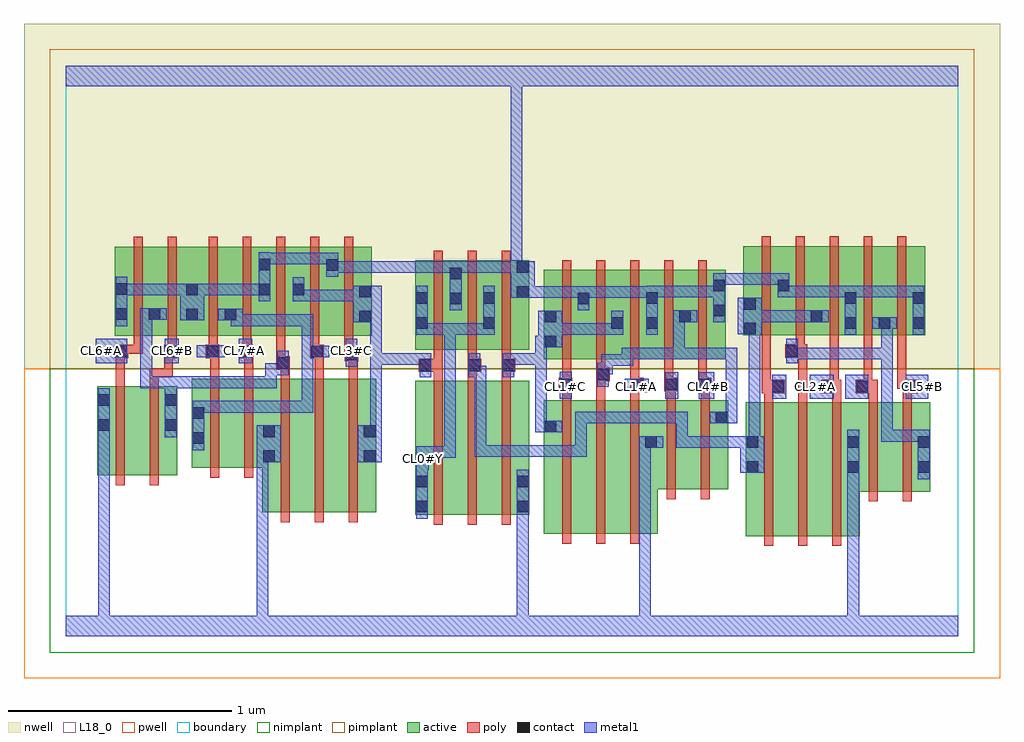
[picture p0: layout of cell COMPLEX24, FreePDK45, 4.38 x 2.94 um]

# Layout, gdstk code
import gdstk
lib = gdstk.Library(unit=1e-6, precision=1e-09)
def R(c, l, rs):  # rectangles x0, y0, x1, y1
    for r in rs: c.add(gdstk.rectangle(r[:2], r[2:], *l))
def A(c, l, x, y, w, h, nx, ny, dx, dy):  # array of equal rectangles
    R(c, l, [(x+i*dx, y+j*dy, x+i*dx+w, y+j*dy+h) for i in range(nx) for j in range(ny)])
active = (1, 0)
pwell = (2, 0)
nwell = (3, 0)
nimplant = (4, 0)
pimplant = (5, 0)
poly = (9, 0)
contact = (10, 0)
metal1 = (11, 0)
L18_0 = (18, 0)
boundary = (235, 0)

complex24 = lib.new_cell('COMPLEX24')
A(complex24, active, 0.708, 1.348, 0.212, 0.4, 3, 1, 0.152, 0)
A(complex24, active, 3.336, 1.35, 0.212, 0.4, 3, 1, 0.152, 0)
A(complex24, active, 3.488, 1.35, 0.06, 0.294, 3, 1, 0.152, 0)
R(complex24, active, [(3.048,0.45,3.228,1.05), (3.228,0.45,3.38,1.05), (3.38,0.45,3.56,1.05), (3.5,0.45,3.56,0.902), (2.142,0.46,2.322,1.06), (2.322,0.46,2.474,1.06), (2.474,0.46,2.654,1.06), (1.566,0.546,1.746,1.146), (1.746,0.546,1.898,1.146), (1.898,0.546,2.078,1.146), (2.018,0.546,2.078,0.724), (1.566,0.552,1.626,1.146), (0.88,0.556,1.06,1.156), (1.06,0.556,1.212,1.156), (1.212,0.556,1.392,1.156), (1.332,0.556,1.392,1.156), (2.142,0.556,2.202,1.06), (3.048,0.556,3.108,1.05), (3.5,0.65,3.696,1.05), (3.696,0.65,3.876,1.05), (3.816,0.65,3.876,1.05), (2.594,0.66,2.79,1.06), (2.79,0.66,2.97,1.06), (0.14,0.722,0.2,1.122), (0.14,0.722,0.32,1.122), (0.32,0.722,0.5,1.122), (0.44,0.722,0.5,1.122), (0.564,0.756,0.624,1.156), (0.564,0.756,0.744,1.156), (0.744,0.756,0.94,1.156), (0.88,0.756,0.94,0.98), (2.594,0.756,2.654,0.902), (2.91,0.756,2.97,1.06), (2.142,1.244,2.202,1.644), (2.142,1.244,2.35,1.644), (2.29,1.244,2.35,1.644), (2.29,1.244,2.502,1.644), (2.442,1.244,2.502,1.644), (2.442,1.244,2.658,1.644), (2.598,1.244,2.658,1.644), (2.598,1.244,2.806,1.644), (2.746,1.244,2.806,1.644), (2.746,1.244,2.958,1.644), (2.898,1.244,2.958,1.644), (1.566,1.286,1.778,1.686), (1.566,1.286,1.626,1.644), (1.718,1.286,1.778,1.686), (1.718,1.286,1.926,1.686), (1.866,1.286,2.078,1.686), (2.018,1.286,2.078,1.686), (0.22,1.348,0.428,1.748), (0.22,1.348,0.28,1.644), (0.368,1.348,0.596,1.748), (0.536,1.348,0.768,1.748), (0.86,1.348,0.92,1.748), (1.164,1.348,1.372,1.748), (1.312,1.348,1.372,1.644), (3.036,1.35,3.096,1.75), (3.036,1.35,3.248,1.75), (3.188,1.35,3.248,1.75), (3.188,1.35,3.396,1.75), (3.336,1.35,3.396,1.75), (1.866,1.376,1.926,1.644), (0.536,1.414,0.596,1.644), (0.708,1.414,0.768,1.644), (0.368,1.416,0.428,1.644), (1.164,1.472,1.224,1.748), (1.012,1.526,1.072,1.644)])
R(complex24, pwell, [(-0.188,-0.188,4.188,1.2)])
R(complex24, nwell, [(-0.188,1.2,4.188,2.748)])
R(complex24, nimplant, [(-0.072,-0.072,4.072,1.2)])
R(complex24, pimplant, [(-0.072,1.2,4.072,2.632)])
A(complex24, poly, 3.132, 0.406, 0.04, 0.688, 3, 1, 0.152, 0)
A(complex24, poly, 2.226, 0.416, 0.04, 0.688, 3, 1, 0.152, 0)
A(complex24, poly, 1.65, 0.502, 0.04, 0.688, 3, 1, 0.152, 0)
A(complex24, poly, 0.964, 0.512, 0.04, 0.688, 3, 1, 0.152, 0)
A(complex24, poly, 2.53, 1.1, 0.06, 0.06, 3, 1, 0.152, 0)
A(complex24, poly, 3.424, 1.11, 0.04, 0.236, 3, 1, 0.152, 0)
A(complex24, poly, 2.53, 1.12, 0.04, 0.12, 3, 1, 0.152, 0)
A(complex24, poly, 1.65, 1.15, 0.04, 0.076, 3, 2, 0.152, 0.056)
A(complex24, poly, 2.226, 1.2, 0.04, 0.488, 5, 1, 0.152, 0)
A(complex24, poly, 1.65, 1.242, 0.04, 0.488, 3, 1, 0.152, 0)
A(complex24, poly, 0.64, 1.304, 0.04, 0.488, 5, 1, 0.152, 0)
A(complex24, poly, 3.12, 1.306, 0.04, 0.488, 5, 1, 0.152, 0)
R(complex24, poly, [(3.6,0.606,3.64,1.094), (3.752,0.606,3.792,1.094), (2.694,0.616,2.734,1.104), (2.846,0.616,2.886,1.104), (0.224,0.678,0.264,1.166), (0.376,0.678,0.416,1.166), (0.648,0.712,0.688,1.2), (0.8,0.712,0.84,1.2), (3.132,1.054,3.172,1.13), (3.284,1.054,3.324,1.29), (3.436,1.054,3.476,1.13), (3.6,1.054,3.64,1.13), (3.752,1.054,3.792,1.13), (2.226,1.064,2.266,1.14), (2.378,1.064,2.418,1.184), (2.53,1.064,2.57,1.14), (2.694,1.064,2.734,1.14), (2.846,1.064,2.886,1.14), (3.12,1.09,3.222,1.15), (3.386,1.09,3.476,1.15), (3.542,1.09,3.64,1.15), (3.752,1.09,3.822,1.15), (2.21,1.1,2.27,1.16), (3.12,1.11,3.16,1.346), (3.12,1.11,3.16,1.15), (3.12,1.11,3.16,1.15), (3.424,1.11,3.464,1.15), (3.424,1.11,3.464,1.15), (3.576,1.11,3.616,1.15), (3.576,1.11,3.616,1.15), (3.728,1.11,3.792,1.15), (3.752,1.11,3.792,1.15), (2.226,1.12,2.266,1.16), (2.226,1.12,2.266,1.16), (2.226,1.12,2.266,1.24), (2.53,1.12,2.57,1.16), (2.53,1.12,2.57,1.16), (2.682,1.12,2.722,1.16), (2.682,1.12,2.722,1.16), (2.834,1.12,2.874,1.16), (2.834,1.12,2.874,1.16), (0.224,1.126,0.264,1.288), (0.376,1.126,0.416,1.202), (2.378,1.144,2.418,1.184), (2.378,1.144,2.418,1.184), (2.378,1.144,2.438,1.204), (0.648,1.16,0.688,1.288), (0.8,1.16,0.84,1.288), (0.964,1.16,1.004,1.236), (1.116,1.16,1.156,1.288), (1.268,1.16,1.308,1.274), (0.376,1.162,0.48,1.202), (0.44,1.162,0.48,1.288), (2.378,1.164,2.418,1.24), (1.582,1.186,1.69,1.246), (1.65,1.186,1.69,1.226), (1.65,1.186,1.69,1.226), (1.802,1.186,1.862,1.246), (1.954,1.186,2.014,1.246), (0.944,1.196,1.004,1.256), (1.802,1.206,1.842,1.246), (1.802,1.206,1.842,1.246), (1.954,1.206,1.994,1.246), (1.954,1.206,1.994,1.246), (0.944,1.216,0.984,1.256), (0.944,1.216,0.984,1.256), (0.944,1.216,0.984,1.344), (1.25,1.234,1.31,1.294), (0.22,1.248,0.28,1.308), (0.44,1.248,0.5,1.308), (0.628,1.248,0.688,1.308), (0.648,1.248,0.688,1.288), (0.648,1.248,0.688,1.288), (0.78,1.248,0.84,1.308), (0.8,1.248,0.84,1.288), (0.8,1.248,0.84,1.288), (1.096,1.248,1.156,1.308), (3.226,1.25,3.324,1.31), (3.284,1.25,3.324,1.29), (3.284,1.25,3.324,1.29), (1.248,1.254,1.288,1.344), (1.248,1.254,1.29,1.294), (1.25,1.254,1.29,1.294), (0.24,1.268,0.28,1.308), (0.24,1.268,0.344,1.308), (0.304,1.268,0.344,1.344), (0.456,1.268,0.496,1.344), (0.64,1.268,0.68,1.344), (0.792,1.268,0.832,1.344), (1.096,1.268,1.136,1.308), (1.096,1.268,1.136,1.308), (1.096,1.268,1.136,1.344), (3.272,1.27,3.312,1.346), (0.304,1.304,0.344,1.792), (0.456,1.304,0.496,1.792)])
A(complex24, contact, 2.534, 1.104, 0.052, 0.052, 3, 1, 0.152, 0)
A(complex24, contact, 3.492, 1.38, 0.052, 0.052, 3, 1, 0.152, 0)
R(complex24, contact, [(1.57,0.556,1.622,0.608), (2.022,0.556,2.074,0.608), (1.57,0.668,1.622,0.72), (2.022,0.668,2.074,0.72), (3.052,0.734,3.104,0.786), (3.504,0.734,3.556,0.786), (3.82,0.734,3.872,0.786), (0.884,0.782,0.936,0.834), (1.336,0.782,1.388,0.834), (2.598,0.846,2.65,0.898), (3.052,0.846,3.104,0.898), (3.504,0.846,3.556,0.898), (3.82,0.846,3.872,0.898), (0.568,0.864,0.62,0.916), (0.884,0.894,0.936,0.946), (1.336,0.894,1.388,0.946), (2.146,0.916,2.198,0.968), (0.144,0.922,0.196,0.974), (0.444,0.922,0.496,0.974), (2.914,0.956,2.966,1.008), (0.568,0.976,0.62,1.028), (0.144,1.034,0.196,1.086), (0.444,1.034,0.496,1.086), (3.166,1.094,3.218,1.146), (3.39,1.094,3.442,1.146), (3.546,1.094,3.598,1.146), (3.766,1.094,3.818,1.146), (2.214,1.104,2.266,1.156), (2.382,1.148,2.434,1.2), (1.586,1.19,1.638,1.242), (1.806,1.19,1.858,1.242), (1.958,1.19,2.01,1.242), (0.948,1.2,1,1.252), (1.254,1.238,1.306,1.29), (0.224,1.252,0.276,1.304), (0.444,1.252,0.496,1.304), (0.632,1.252,0.684,1.304), (0.784,1.252,0.836,1.304), (1.1,1.252,1.152,1.304), (3.23,1.254,3.282,1.306), (2.146,1.296,2.198,1.348), (3.04,1.354,3.092,1.406), (1.57,1.38,1.622,1.432), (1.87,1.38,1.922,1.432), (2.446,1.38,2.498,1.432), (2.602,1.38,2.654,1.432), (1.316,1.408,1.368,1.46), (2.146,1.408,2.198,1.46), (2.75,1.41,2.802,1.462), (3.34,1.41,3.392,1.462), (0.54,1.418,0.592,1.47), (0.712,1.418,0.764,1.47), (0.224,1.42,0.276,1.472), (0.372,1.42,0.424,1.472), (2.902,1.436,2.954,1.488), (3.04,1.466,3.092,1.518), (1.722,1.49,1.774,1.542), (2.294,1.49,2.346,1.542), (1.57,1.492,1.622,1.544), (1.87,1.492,1.922,1.544), (2.602,1.492,2.654,1.544), (3.492,1.492,3.544,1.544), (3.796,1.492,3.848,1.544), (2.022,1.518,2.074,1.57), (1.316,1.52,1.368,1.572), (0.54,1.53,0.592,1.582), (0.864,1.53,0.916,1.582), (1.016,1.53,1.068,1.582), (0.224,1.532,0.276,1.584), (2.902,1.548,2.954,1.6), (3.192,1.548,3.244,1.6), (1.722,1.602,1.774,1.654), (2.022,1.63,2.074,1.682), (1.168,1.64,1.22,1.692), (0.864,1.642,0.916,1.694)])
R(complex24, metal1, [(0,0,4,0.092), (0.144,0.04,0.196,0.092), (0.144,0.04,0.196,0.092), (0.144,0.04,0.196,0.092), (0.144,0.04,0.196,0.092), (0.144,0.04,0.196,0.092), (0.144,0.04,0.196,0.092), (0.144,0.04,0.196,0.092), (0.144,0.04,0.196,0.092), (0.144,0.04,0.196,0.092), (0.144,0.04,0.196,0.092), (0.144,0.04,0.196,0.092), (0.144,0.04,0.196,0.092), (0.144,0.04,0.196,0.946), (0.856,0.04,0.908,0.834), (2.022,0.04,2.074,0.092), (2.022,0.04,2.074,0.092), (2.022,0.04,2.074,0.092), (2.022,0.04,2.074,0.092), (2.022,0.04,2.074,0.092), (2.022,0.04,2.074,0.092), (2.022,0.04,2.074,0.092), (2.022,0.04,2.074,0.092), (2.022,0.04,2.074,0.58), (2.57,0.04,2.622,0.092), (2.57,0.04,2.622,0.092), (2.57,0.04,2.622,0.092), (2.57,0.04,2.622,0.092), (2.57,0.04,2.622,0.092), (2.57,0.04,2.622,0.092), (2.57,0.04,2.622,0.898), (3.504,0.04,3.556,0.092), (3.504,0.04,3.556,0.092), (3.504,0.04,3.556,0.092), (3.504,0.04,3.556,0.092), (3.504,0.04,3.556,0.092), (3.504,0.04,3.556,0.092), (3.504,0.04,3.556,0.092), (3.504,0.04,3.556,0.092), (3.504,0.04,3.556,0.758), (1.57,0.528,1.622,0.748), (2.022,0.528,2.074,0.748), (1.57,0.696,1.622,0.798), (3.504,0.706,3.556,0.926), (3.82,0.706,3.872,0.926), (3.024,0.734,3.132,0.898), (1.57,0.746,1.626,0.854), (0.856,0.782,0.908,0.834), (0.856,0.782,0.908,0.834), (0.856,0.782,0.908,0.834), (0.856,0.782,0.908,0.834), (0.856,0.782,0.908,0.834), (0.856,0.782,0.908,0.834), (0.856,0.782,0.908,0.834), (0.856,0.782,0.908,0.834), (0.856,0.782,0.964,0.946), (1.308,0.782,1.416,0.946), (1.574,0.802,1.626,0.854), (1.574,0.802,1.626,0.854), (1.574,0.802,1.748,0.854), (1.696,0.802,1.748,0.854), (1.696,0.802,1.748,1.404), (1.832,0.806,1.884,0.858), (1.832,0.806,2.046,0.858), (1.832,0.806,1.884,1.214), (1.994,0.806,2.046,0.858), (1.994,0.806,2.046,0.858), (1.994,0.806,2.046,0.858), (1.994,0.806,2.046,0.858), (1.994,0.806,2.046,0.858), (1.994,0.806,2.226,0.858), (2.174,0.806,2.226,0.858), (2.174,0.806,2.226,0.858), (2.174,0.806,2.226,0.858), (2.174,0.806,2.336,0.858), (2.284,0.806,2.336,0.858), (2.284,0.806,2.336,1.008), (0.568,0.836,0.62,1.056), (2.57,0.846,2.622,0.898), (2.57,0.846,2.622,0.898), (2.57,0.846,2.678,0.898), (2.736,0.846,2.788,0.898), (2.736,0.846,2.938,0.898), (2.736,0.846,2.788,1.008), (2.886,0.846,2.938,0.898), (2.886,0.846,2.938,0.898), (2.886,0.846,2.938,0.898), (2.886,0.846,3.076,0.898), (3.062,0.846,3.114,1.406), (3.656,0.874,3.708,0.926), (3.656,0.874,3.708,0.926), (3.656,0.874,3.708,0.926), (3.656,0.874,3.872,0.926), (3.656,0.874,3.708,1.294), (0.144,0.894,0.196,1.114), (0.444,0.894,0.496,1.114), (1.364,0.894,1.416,1.27), (2.104,0.916,2.156,1.27), (2.104,0.916,2.226,0.968), (2.284,0.956,2.336,1.008), (2.284,0.956,2.336,1.008), (2.284,0.956,2.336,1.008), (2.284,0.956,2.456,1.008), (2.404,0.956,2.456,1.008), (2.404,0.956,2.544,1.008), (2.492,0.956,2.544,1.008), (2.492,0.956,2.654,1.008), (2.602,0.956,2.654,1.008), (2.602,0.956,2.654,1.008), (2.602,0.956,2.654,1.008), (2.602,0.956,2.788,1.008), (2.736,0.956,2.788,1.008), (2.886,0.956,3.01,1.008), (2.958,0.956,3.01,1.294), (0.568,1.004,0.62,1.056), (0.568,1.004,0.62,1.056), (0.568,1.004,0.73,1.056), (0.678,1.004,0.73,1.056), (0.678,1.004,0.73,1.056), (0.678,1.004,0.73,1.056), (0.678,1.004,0.946,1.056), (0.894,1.004,0.946,1.056), (0.894,1.004,0.946,1.056), (0.894,1.004,0.946,1.056), (0.894,1.004,1.11,1.056), (1.058,1.004,1.11,1.056), (1.058,1.004,1.11,1.304), (0.444,1.062,0.496,1.166), (2.214,1.066,2.268,1.188), (2.686,1.066,2.746,1.184), (2.838,1.066,2.906,1.184), (3.166,1.066,3.23,1.174), (3.334,1.066,3.442,1.174), (3.494,1.066,3.598,1.174), (3.766,1.066,3.866,1.174), (2.506,1.094,2.614,1.156), (0.334,1.114,0.386,1.166), (0.334,1.114,0.386,1.166), (0.334,1.114,0.386,1.166), (0.334,1.114,0.496,1.166), (0.334,1.114,0.386,1.472), (0.444,1.114,0.496,1.166), (0.444,1.114,0.496,1.166), (0.444,1.114,0.496,1.166), (0.444,1.114,0.606,1.166), (0.554,1.114,0.606,1.166), (0.554,1.114,0.73,1.166), (0.678,1.114,0.73,1.166), (0.678,1.114,0.73,1.166), (0.678,1.114,0.73,1.166), (0.678,1.114,0.946,1.166), (0.894,1.114,0.946,1.224), (2.382,1.12,2.434,1.228), (1.586,1.162,1.638,1.27), (1.806,1.162,1.858,1.27), (1.806,1.162,1.884,1.214), (1.832,1.162,1.884,1.214), (1.958,1.162,2.01,1.27), (0.894,1.172,1,1.224), (0.948,1.172,1,1.28), (2.382,1.176,2.452,1.228), (2.4,1.176,2.452,1.266), (1.254,1.21,1.306,1.334), (2.4,1.214,2.544,1.266), (2.492,1.214,2.544,1.294), (1.364,1.218,1.416,1.27), (1.364,1.218,1.416,1.27), (1.364,1.218,1.416,1.27), (1.364,1.218,1.638,1.27), (1.364,1.218,1.416,1.46), (1.586,1.218,1.638,1.27), (1.586,1.218,1.638,1.27), (1.958,1.218,2.01,1.27), (1.958,1.218,2.01,1.27), (1.958,1.218,2.156,1.27), (2.104,1.218,2.156,1.27), (2.104,1.218,2.156,1.348), (0.134,1.224,0.276,1.334), (0.444,1.224,0.506,1.334), (0.774,1.224,0.836,1.334), (3.23,1.226,3.282,1.334), (2.492,1.242,2.654,1.294), (2.602,1.242,2.654,1.294), (2.602,1.242,2.654,1.294), (2.602,1.242,2.654,1.294), (2.602,1.242,2.774,1.294), (2.722,1.242,2.774,1.294), (2.722,1.242,2.774,1.294), (2.722,1.242,2.774,1.294), (2.722,1.242,2.774,1.462), (2.722,1.242,3.01,1.294), (2.958,1.242,3.01,1.294), (2.958,1.242,3.01,1.294), (2.958,1.242,3.01,1.294), (3.23,1.242,3.392,1.294), (3.34,1.242,3.392,1.294), (3.34,1.242,3.392,1.294), (3.34,1.242,3.392,1.294), (3.34,1.242,3.512,1.294), (3.46,1.242,3.512,1.294), (3.46,1.242,3.512,1.294), (3.46,1.242,3.512,1.294), (3.46,1.242,3.708,1.294), (3.656,1.242,3.708,1.294), (3.656,1.242,3.708,1.294), (3.656,1.242,3.708,1.294), (3.656,1.242,3.708,1.432), (0.586,1.252,0.712,1.306), (1.058,1.252,1.11,1.304), (1.058,1.252,1.124,1.304), (1.058,1.252,1.11,1.444), (1.072,1.252,1.18,1.304), (2.104,1.296,2.17,1.348), (2.118,1.296,2.17,1.348), (2.118,1.296,2.226,1.46), (1.57,1.352,1.622,1.404), (1.57,1.352,1.622,1.404), (1.57,1.352,1.622,1.572), (1.57,1.352,1.748,1.404), (1.696,1.352,1.748,1.404), (1.696,1.352,1.748,1.404), (1.696,1.352,1.748,1.404), (1.696,1.352,1.748,1.404), (1.696,1.352,1.748,1.404), (1.696,1.352,1.922,1.404), (1.87,1.352,1.922,1.572), (2.174,1.352,2.226,1.404), (2.174,1.352,2.226,1.404), (2.174,1.352,2.342,1.404), (2.29,1.352,2.342,1.404), (2.29,1.352,2.342,1.404), (2.29,1.352,2.342,1.404), (2.29,1.352,2.498,1.404), (2.446,1.352,2.498,1.46), (2.602,1.352,2.654,1.572), (3.492,1.352,3.544,1.572), (3.796,1.352,3.848,1.572), (3.012,1.354,3.12,1.518), (3.062,1.354,3.114,1.406), (3.062,1.354,3.114,1.406), (3.062,1.354,3.114,1.406), (3.062,1.354,3.114,1.406), (3.062,1.354,3.114,1.406), (3.062,1.354,3.114,1.406), (3.616,1.38,3.724,1.432), (0.224,1.392,0.276,1.612), (0.74,1.392,0.946,1.444), (0.74,1.392,0.792,1.47), (0.894,1.392,0.946,1.444), (0.894,1.392,0.946,1.444), (0.894,1.392,0.946,1.444), (0.894,1.392,0.946,1.444), (0.894,1.392,0.946,1.444), (0.894,1.392,1.11,1.444), (1.058,1.392,1.11,1.444), (1.288,1.408,1.416,1.572), (2.902,1.408,2.954,1.628), (2.722,1.41,2.83,1.462), (3.068,1.41,3.12,1.462), (3.068,1.41,3.12,1.462), (3.068,1.41,3.254,1.462), (3.202,1.41,3.254,1.462), (3.202,1.41,3.254,1.462), (3.202,1.41,3.254,1.462), (3.202,1.41,3.364,1.462), (3.312,1.41,3.42,1.462), (0.512,1.418,0.62,1.582), (0.684,1.418,0.792,1.47), (0.74,1.418,0.792,1.47), (0.334,1.42,0.386,1.472), (0.334,1.42,0.386,1.472), (0.334,1.42,0.452,1.472), (1.722,1.462,1.774,1.682), (2.294,1.462,2.346,1.57), (0.864,1.502,0.916,1.722), (1.016,1.502,1.068,1.61), (1.016,1.502,1.11,1.554), (1.058,1.502,1.11,1.554), (1.058,1.502,1.23,1.554), (1.178,1.502,1.23,1.554), (1.178,1.502,1.34,1.554), (1.288,1.502,1.34,1.554), (1.288,1.502,1.34,1.554), (1.994,1.518,2.102,1.682), (2.05,1.518,2.212,1.57), (2.16,1.518,2.212,1.57), (2.16,1.518,2.212,1.57), (2.16,1.518,2.212,1.57), (2.16,1.518,2.346,1.57), (2.294,1.518,2.346,1.57), (2.294,1.518,2.346,1.57), (2.294,1.518,2.456,1.57), (2.404,1.518,2.456,1.57), (2.404,1.518,2.544,1.57), (2.492,1.518,2.544,1.57), (2.492,1.518,2.654,1.57), (2.602,1.52,2.654,1.572), (2.602,1.52,2.654,1.572), (2.602,1.52,2.828,1.572), (2.776,1.52,2.828,1.572), (2.776,1.52,2.828,1.572), (2.776,1.52,2.828,1.572), (2.776,1.52,2.954,1.572), (3.192,1.52,3.244,1.572), (3.192,1.52,3.244,1.572), (3.192,1.52,3.392,1.572), (3.192,1.52,3.244,1.628), (3.34,1.52,3.392,1.572), (3.34,1.52,3.392,1.572), (3.34,1.52,3.392,1.572), (3.34,1.52,3.544,1.572), (3.492,1.52,3.544,1.572), (3.492,1.52,3.544,1.572), (3.492,1.52,3.654,1.572), (3.602,1.52,3.654,1.572), (3.602,1.52,3.848,1.572), (3.796,1.52,3.848,1.572), (3.796,1.52,3.848,1.572), (0.224,1.53,0.276,1.582), (0.224,1.53,0.276,1.582), (0.224,1.53,0.386,1.582), (0.334,1.53,0.386,1.582), (0.334,1.53,0.386,1.582), (0.334,1.53,0.386,1.582), (0.334,1.53,0.496,1.582), (0.444,1.53,0.496,1.582), (0.444,1.53,0.564,1.582), (0.568,1.53,0.62,1.582), (0.568,1.53,0.62,1.582), (0.568,1.53,0.73,1.582), (0.678,1.53,0.73,1.582), (0.678,1.53,0.73,1.582), (0.678,1.53,0.73,1.582), (0.678,1.53,0.916,1.582), (2.902,1.576,3.134,1.628), (3.082,1.576,3.134,1.628), (3.082,1.576,3.134,1.628), (3.082,1.576,3.134,1.628), (3.082,1.576,3.244,1.628), (1.168,1.612,1.22,1.72), (1.168,1.63,1.22,1.682), (1.168,1.63,1.22,1.682), (1.168,1.63,1.496,1.682), (1.444,1.63,1.496,1.682), (1.444,1.63,1.496,1.682), (1.444,1.63,1.496,1.682), (1.444,1.63,1.606,1.682), (1.554,1.63,1.606,1.682), (1.554,1.63,1.774,1.682), (1.722,1.63,1.9,1.682), (1.848,1.63,1.9,1.682), (1.848,1.63,1.9,1.682), (1.848,1.63,1.9,1.682), (1.848,1.63,2.046,1.682), (1.994,1.63,2.046,1.682), (1.994,1.63,2.046,1.682), (1.994,1.63,2.046,1.682), (1.994,1.63,2.046,1.682), (1.994,1.63,2.046,1.682), (1.994,1.63,2.046,1.682), (1.994,1.63,2.046,2.52), (0.864,1.668,0.946,1.72), (0.894,1.668,0.946,1.72), (0.894,1.668,1.11,1.72), (1.058,1.668,1.11,1.72), (1.058,1.668,1.11,1.72), (1.058,1.668,1.11,1.72), (1.058,1.668,1.22,1.72), (0,2.468,4,2.56), (1.994,2.468,2.046,2.52), (1.994,2.468,2.046,2.52), (1.994,2.468,2.046,2.52), (1.994,2.468,2.046,2.52), (1.994,2.468,2.046,2.52), (1.994,2.468,2.046,2.52), (1.994,2.468,2.046,2.52), (1.994,2.468,2.046,2.52), (1.994,2.468,2.046,2.52), (1.994,2.468,2.046,2.52), (1.994,2.468,2.046,2.52), (1.994,2.468,2.046,2.52)])
A(complex24, L18_0, 2.534, 1.094, 0.052, 0.052, 3, 1, 0.16, 0)
A(complex24, L18_0, 3.174, 1.094, 0.052, 0.052, 3, 1, 0.16, 0)
A(complex24, L18_0, 0.454, 1.254, 0.052, 0.052, 3, 1, 0.16, 0)
R(complex24, L18_0, [(0,0,4,0.092), (0.144,0.04,0.196,0.092), (0.144,0.04,0.196,0.092), (0.144,0.04,0.196,0.092), (0.144,0.04,0.196,0.092), (0.144,0.04,0.196,0.092), (0.144,0.04,0.196,0.092), (0.144,0.04,0.196,0.092), (0.144,0.04,0.196,0.092), (0.144,0.04,0.196,0.092), (0.144,0.04,0.196,0.092), (0.144,0.04,0.196,0.092), (0.144,0.04,0.196,0.092), (0.144,0.04,0.196,0.946), (0.856,0.04,0.908,0.834), (2.022,0.04,2.074,0.092), (2.022,0.04,2.074,0.092), (2.022,0.04,2.074,0.092), (2.022,0.04,2.074,0.092), (2.022,0.04,2.074,0.092), (2.022,0.04,2.074,0.092), (2.022,0.04,2.074,0.092), (2.022,0.04,2.074,0.092), (2.022,0.04,2.074,0.58), (2.57,0.04,2.622,0.092), (2.57,0.04,2.622,0.092), (2.57,0.04,2.622,0.092), (2.57,0.04,2.622,0.092), (2.57,0.04,2.622,0.092), (2.57,0.04,2.622,0.092), (2.57,0.04,2.622,0.898), (3.504,0.04,3.556,0.092), (3.504,0.04,3.556,0.092), (3.504,0.04,3.556,0.092), (3.504,0.04,3.556,0.092), (3.504,0.04,3.556,0.092), (3.504,0.04,3.556,0.092), (3.504,0.04,3.556,0.092), (3.504,0.04,3.556,0.092), (3.504,0.04,3.556,0.758), (1.57,0.528,1.622,0.748), (2.022,0.528,2.074,0.748), (1.57,0.696,1.622,0.798), (3.504,0.706,3.556,0.926), (1.57,0.746,1.626,0.854), (1.574,0.774,1.626,0.826), (0.856,0.782,0.908,0.834), (0.856,0.782,0.908,0.834), (0.856,0.782,0.908,0.834), (0.856,0.782,0.908,0.834), (0.856,0.782,0.908,0.834), (0.856,0.782,0.908,0.834), (0.856,0.782,0.908,0.834), (0.856,0.782,0.908,0.834), (0.856,0.782,0.964,0.946), (1.574,0.802,1.626,0.854), (1.574,0.802,1.626,0.854), (1.574,0.802,1.748,0.854), (1.696,0.802,1.748,0.854), (1.696,0.802,1.748,1.404), (2.57,0.846,2.622,0.898), (2.57,0.846,2.622,0.898), (2.57,0.846,2.678,0.898), (0.144,0.894,0.196,1.114), (2.214,1.066,2.268,1.188), (2.686,1.066,2.746,1.184), (2.838,1.066,2.906,1.184), (3.166,1.066,3.23,1.174), (3.334,1.066,3.442,1.174), (3.494,1.066,3.598,1.174), (3.766,1.066,3.866,1.174), (2.214,1.094,2.266,1.146), (2.506,1.094,2.614,1.156), (3.814,1.094,3.866,1.146), (1.254,1.21,1.306,1.334), (0.134,1.224,0.276,1.334), (0.444,1.224,0.506,1.334), (0.774,1.224,0.836,1.334), (0.586,1.252,0.712,1.306), (0.134,1.254,0.186,1.306), (1.254,1.254,1.306,1.306), (1.57,1.352,1.622,1.404), (1.57,1.352,1.622,1.404), (1.57,1.352,1.622,1.572), (1.57,1.352,1.748,1.404), (1.696,1.352,1.748,1.404), (1.696,1.352,1.748,1.404), (1.696,1.352,1.748,1.404), (1.696,1.352,1.748,1.404), (1.696,1.352,1.748,1.404), (1.696,1.352,1.922,1.404), (1.87,1.352,1.922,1.572), (2.602,1.352,2.654,1.572), (3.492,1.352,3.544,1.572), (3.796,1.352,3.848,1.572), (0.224,1.392,0.276,1.612), (2.902,1.408,2.954,1.628), (0.512,1.418,0.62,1.582), (1.722,1.462,1.774,1.682), (2.294,1.462,2.346,1.57), (0.864,1.502,0.916,1.722), (1.994,1.518,2.102,1.682), (2.05,1.518,2.212,1.57), (2.16,1.518,2.212,1.57), (2.16,1.518,2.212,1.57), (2.16,1.518,2.212,1.57), (2.16,1.518,2.346,1.57), (2.294,1.518,2.346,1.57), (2.294,1.518,2.346,1.57), (2.294,1.518,2.456,1.57), (2.404,1.518,2.456,1.57), (2.404,1.518,2.544,1.57), (2.492,1.518,2.544,1.57), (2.492,1.518,2.654,1.57), (2.602,1.52,2.654,1.572), (2.602,1.52,2.654,1.572), (2.602,1.52,2.828,1.572), (2.776,1.52,2.828,1.572), (2.776,1.52,2.828,1.572), (2.776,1.52,2.828,1.572), (2.776,1.52,2.954,1.572), (3.192,1.52,3.244,1.572), (3.192,1.52,3.244,1.572), (3.192,1.52,3.244,1.628), (3.192,1.52,3.392,1.572), (3.34,1.52,3.392,1.572), (3.34,1.52,3.392,1.572), (3.34,1.52,3.392,1.572), (3.34,1.52,3.544,1.572), (3.492,1.52,3.544,1.572), (3.492,1.52,3.544,1.572), (3.492,1.52,3.654,1.572), (3.602,1.52,3.654,1.572), (3.602,1.52,3.848,1.572), (3.796,1.52,3.848,1.572), (3.796,1.52,3.848,1.572), (0.224,1.53,0.276,1.582), (0.224,1.53,0.276,1.582), (0.224,1.53,0.386,1.582), (0.334,1.53,0.386,1.582), (0.334,1.53,0.386,1.582), (0.334,1.53,0.386,1.582), (0.334,1.53,0.496,1.582), (0.444,1.53,0.496,1.582), (0.444,1.53,0.564,1.582), (0.568,1.53,0.62,1.582), (0.568,1.53,0.62,1.582), (0.568,1.53,0.73,1.582), (0.678,1.53,0.73,1.582), (0.678,1.53,0.73,1.582), (0.678,1.53,0.73,1.582), (0.678,1.53,0.916,1.582), (2.902,1.576,3.134,1.628), (3.082,1.576,3.134,1.628), (3.082,1.576,3.134,1.628), (3.082,1.576,3.134,1.628), (3.082,1.576,3.244,1.628), (1.168,1.612,1.22,1.72), (1.168,1.63,1.22,1.682), (1.168,1.63,1.22,1.682), (1.168,1.63,1.496,1.682), (1.444,1.63,1.496,1.682), (1.444,1.63,1.496,1.682), (1.444,1.63,1.496,1.682), (1.444,1.63,1.606,1.682), (1.554,1.63,1.606,1.682), (1.554,1.63,1.774,1.682), (1.722,1.63,1.9,1.682), (1.848,1.63,1.9,1.682), (1.848,1.63,1.9,1.682), (1.848,1.63,1.9,1.682), (1.848,1.63,2.046,1.682), (1.994,1.63,2.046,1.682), (1.994,1.63,2.046,1.682), (1.994,1.63,2.046,1.682), (1.994,1.63,2.046,1.682), (1.994,1.63,2.046,1.682), (1.994,1.63,2.046,1.682), (1.994,1.63,2.046,2.52), (0.864,1.668,0.946,1.72), (0.894,1.668,0.946,1.72), (0.894,1.668,1.11,1.72), (1.058,1.668,1.11,1.72), (1.058,1.668,1.11,1.72), (1.058,1.668,1.11,1.72), (1.058,1.668,1.22,1.72), (0,2.468,4,2.56), (1.994,2.468,2.046,2.52), (1.994,2.468,2.046,2.52), (1.994,2.468,2.046,2.52), (1.994,2.468,2.046,2.52), (1.994,2.468,2.046,2.52), (1.994,2.468,2.046,2.52), (1.994,2.468,2.046,2.52), (1.994,2.468,2.046,2.52), (1.994,2.468,2.046,2.52), (1.994,2.468,2.046,2.52), (1.994,2.468,2.046,2.52), (1.994,2.468,2.046,2.52)])
R(complex24, boundary, [(0,0,4,2.56)])
complex24.add(gdstk.Label('CL0#Y', (1.6,0.8), layer=11, texttype=0))
complex24.add(gdstk.Label('CL1#A', (2.56,1.12), layer=11, texttype=0))
complex24.add(gdstk.Label('CL1#C', (2.24,1.12), layer=11, texttype=0))
complex24.add(gdstk.Label('CL2#A', (3.36,1.12), layer=11, texttype=0))
complex24.add(gdstk.Label('CL2#C', (3.2,1.12), layer=11, texttype=0))
complex24.add(gdstk.Label('CL3#C', (1.28,1.28), layer=11, texttype=0))
complex24.add(gdstk.Label('CL4#A', (2.72,1.12), layer=11, texttype=0))
complex24.add(gdstk.Label('CL4#B', (2.88,1.12), layer=11, texttype=0))
complex24.add(gdstk.Label('CL5#A', (3.52,1.12), layer=11, texttype=0))
complex24.add(gdstk.Label('CL5#B', (3.84,1.12), layer=11, texttype=0))
complex24.add(gdstk.Label('CL6#A', (0.16,1.28), layer=11, texttype=0))
complex24.add(gdstk.Label('CL6#B', (0.48,1.28), layer=11, texttype=0))
complex24.add(gdstk.Label('CL7#A', (0.8,1.28), layer=11, texttype=0))
complex24.add(gdstk.Label('CL7#B', (0.64,1.28), layer=11, texttype=0))

lib.write_gds('COMPLEX24.gds')
